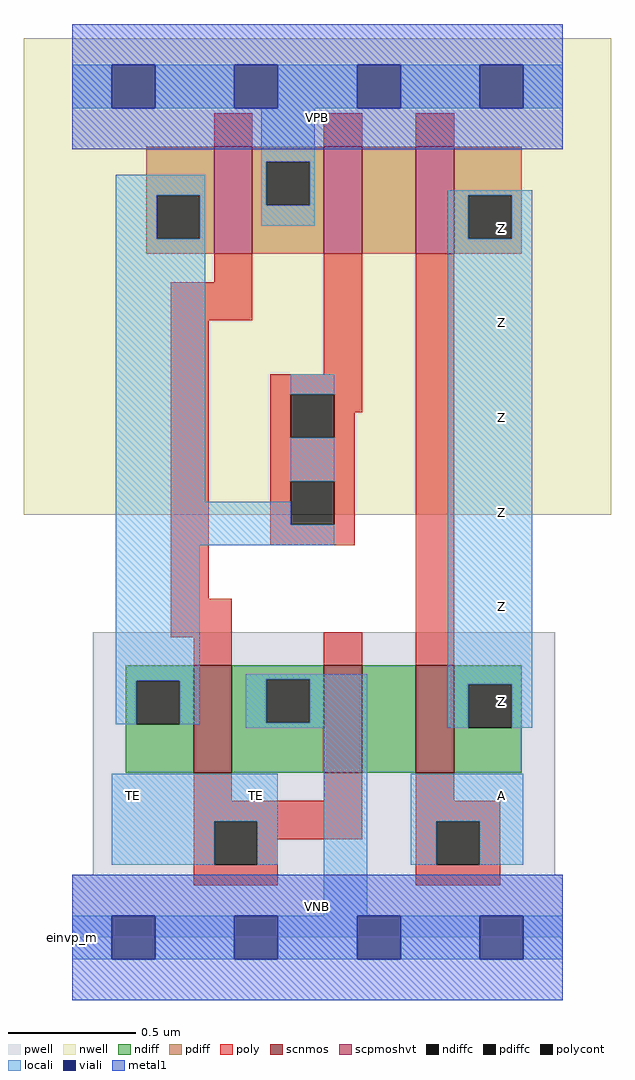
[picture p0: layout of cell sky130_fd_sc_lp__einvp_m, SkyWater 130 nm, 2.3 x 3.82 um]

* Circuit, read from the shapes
.subckt sky130_fd_sc_lp__einvp_m A TE VGND VNB VPB VPWR Z
XM1 VGND TE n1 VNB sky130_fd_pr__nfet_01v8 w=0.42 l=0.15
XM2 n2 TE VGND VNB sky130_fd_pr__nfet_01v8 w=0.42 l=0.15
XM3 Z A n2 VNB sky130_fd_pr__nfet_01v8 w=0.42 l=0.15
XM4 VPWR TE n1 VPB sky130_fd_pr__pfet_01v8_hvt w=0.42 l=0.15
XM5 n3 n1 VPWR VPB sky130_fd_pr__pfet_01v8_hvt w=0.42 l=0.15
XM6 Z A n3 VPB sky130_fd_pr__pfet_01v8_hvt w=0.42 l=0.15
.ends

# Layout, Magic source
magic
tech sky130A
magscale 1 2
<< nwell >>
rect -38 331 422 704
<< pwell >>
rect 16 49 378 239
rect 0 0 384 49
<< scnmos >>
rect 95 129 125 213
rect 197 129 227 213
rect 269 129 299 213
<< scpmoshvt >>
rect 111 535 141 619
rect 197 535 227 619
rect 269 535 299 619
<< ndiff >>
rect 42 201 95 213
rect 42 167 50 201
rect 84 167 95 201
rect 42 129 95 167
rect 125 202 197 213
rect 125 168 152 202
rect 186 168 197 202
rect 125 129 197 168
rect 227 129 269 213
rect 299 198 352 213
rect 299 164 310 198
rect 344 164 352 198
rect 299 129 352 164
<< pdiff >>
rect 58 581 111 619
rect 58 547 66 581
rect 100 547 111 581
rect 58 535 111 547
rect 141 607 197 619
rect 141 573 152 607
rect 186 573 197 607
rect 141 535 197 573
rect 227 535 269 619
rect 299 581 352 619
rect 299 547 310 581
rect 344 547 352 581
rect 299 535 352 547
<< ndiffc >>
rect 50 167 84 201
rect 152 168 186 202
rect 310 164 344 198
<< pdiffc >>
rect 66 547 100 581
rect 152 573 186 607
rect 310 547 344 581
<< poly >>
rect 111 619 141 645
rect 197 619 227 645
rect 269 619 299 645
rect 111 513 141 535
rect 77 483 141 513
rect 77 265 107 483
rect 197 441 227 535
rect 155 425 227 441
rect 155 391 171 425
rect 205 411 227 425
rect 205 391 221 411
rect 155 357 221 391
rect 155 323 171 357
rect 205 323 221 357
rect 155 307 221 323
rect 77 235 125 265
rect 95 213 125 235
rect 197 213 227 239
rect 269 213 299 535
rect 95 107 125 129
rect 197 107 227 129
rect 95 91 227 107
rect 95 57 111 91
rect 145 77 227 91
rect 269 107 299 129
rect 269 91 335 107
rect 145 57 161 77
rect 95 41 161 57
rect 269 57 285 91
rect 319 57 335 91
rect 269 41 335 57
<< polycont >>
rect 171 391 205 425
rect 171 323 205 357
rect 111 57 145 91
rect 285 57 319 91
<< locali >>
rect 0 649 31 683
rect 65 649 127 683
rect 161 649 223 683
rect 257 649 319 683
rect 353 649 384 683
rect 148 607 190 649
rect 34 581 104 597
rect 34 547 66 581
rect 100 547 104 581
rect 148 573 152 607
rect 186 573 190 607
rect 148 557 190 573
rect 294 581 360 585
rect 34 341 104 547
rect 294 547 310 581
rect 344 547 360 581
rect 171 425 205 441
rect 171 357 205 391
rect 34 323 171 341
rect 34 307 205 323
rect 34 201 100 307
rect 34 167 50 201
rect 84 167 100 201
rect 136 202 231 206
rect 136 168 152 202
rect 186 168 231 202
rect 136 164 231 168
rect 294 198 360 547
rect 294 164 310 198
rect 344 164 360 198
rect 31 91 161 128
rect 31 57 111 91
rect 145 57 161 91
rect 197 17 231 164
rect 265 91 353 128
rect 265 57 285 91
rect 319 57 353 91
rect 0 -17 31 17
rect 65 -17 127 17
rect 161 -17 223 17
rect 257 -17 319 17
rect 353 -17 384 17
<< viali >>
rect 31 649 65 683
rect 127 649 161 683
rect 223 649 257 683
rect 319 649 353 683
rect 31 -17 65 17
rect 127 -17 161 17
rect 223 -17 257 17
rect 319 -17 353 17
<< metal1 >>
rect 0 683 384 715
rect 0 649 31 683
rect 65 649 127 683
rect 161 649 223 683
rect 257 649 319 683
rect 353 649 384 683
rect 0 617 384 649
rect 0 17 384 49
rect 0 -17 31 17
rect 65 -17 127 17
rect 161 -17 223 17
rect 257 -17 319 17
rect 353 -17 384 17
rect 0 -49 384 -17
<< labels >>
flabel pwell s 0 0 384 49 0 FreeSans 200 0 0 0 VNB
port 4 nsew ground bidirectional
flabel nwell s 0 617 384 666 0 FreeSans 200 0 0 0 VPB
port 5 nsew power bidirectional
rlabel comment s 0 0 0 0 4 einvp_m
flabel metal1 s 0 617 384 666 0 FreeSans 340 0 0 0 VPWR
port 6 nsew power bidirectional
flabel metal1 s 0 0 384 49 0 FreeSans 340 0 0 0 VGND
port 3 nsew ground bidirectional
flabel locali s 319 94 353 128 0 FreeSans 340 0 0 0 A
port 1 nsew signal input
flabel locali s 319 168 353 202 0 FreeSans 340 0 0 0 Z
port 7 nsew signal output
flabel locali s 319 242 353 276 0 FreeSans 340 0 0 0 Z
port 7 nsew signal output
flabel locali s 319 316 353 350 0 FreeSans 340 0 0 0 Z
port 7 nsew signal output
flabel locali s 319 390 353 424 0 FreeSans 340 0 0 0 Z
port 7 nsew signal output
flabel locali s 319 464 353 498 0 FreeSans 340 0 0 0 Z
port 7 nsew signal output
flabel locali s 319 538 353 572 0 FreeSans 340 0 0 0 Z
port 7 nsew signal output
flabel locali s 31 94 65 128 0 FreeSans 340 0 0 0 TE
port 2 nsew signal input
flabel locali s 127 94 161 128 0 FreeSans 340 0 0 0 TE
port 2 nsew signal input
<< properties >>
string LEFsite unit
string LEFclass CORE
string FIXED_BBOX 0 0 384 666
string GDS_FILE $PDKPATH/libs.ref/sky130_fd_sc_lp/gds/sky130_fd_sc_lp.gds
string LEFsymmetry X Y R90
string GDS_END 3047094
string GDS_START 3042458
<< end >>
